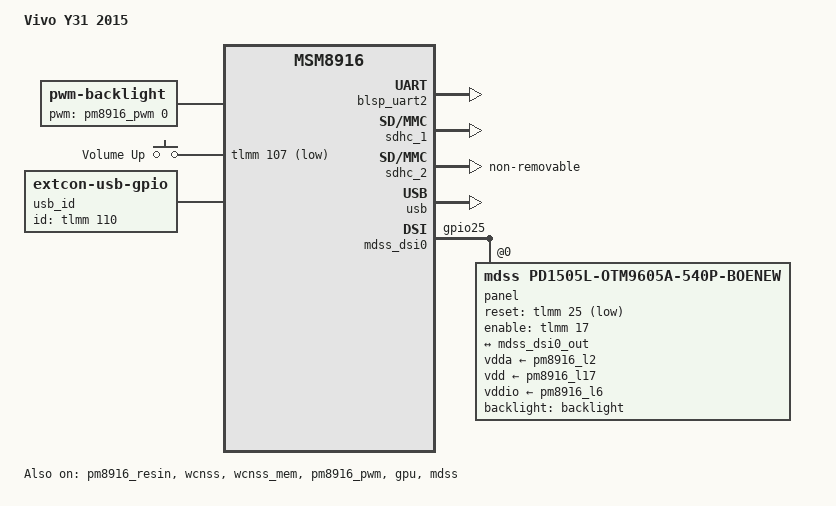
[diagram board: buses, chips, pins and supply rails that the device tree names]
// SPDX-License-Identifier: GPL-2.0-only

/dts-v1/;

#include "msm8916-pm8916.dtsi"
#include <dt-bindings/gpio/gpio.h>
#include <dt-bindings/input/input.h>
#include <dt-bindings/pwm/pwm.h>

/ {
	model = "Vivo Y31 2015";
	compatible = "vivo,pd1505", "qcom,msm8916";
	chassis-type = "handset";

	aliases {
		mmc0 = &sdhc_1;
		mmc1 = &sdhc_2;
		serial0 = &blsp_uart2;
	};

	chosen {
		stdout-path = "serial0";
	};

	backlight: backlight {
		compatible = "pwm-backlight";
		pwms = <&pm8916_pwm 0 25000>;

		brightness-levels = <0 255>;
		num-interpolated-steps = <255>;
		default-brightness-level = <255>;
	};

	gpio-keys {
		compatible = "gpio-keys";
		pinctrl-0 = <&gpio_keys_default>;
		pinctrl-names = "default";
		label = "GPIO Buttons";

		button-volume-up {
			label = "Volume Up";
			gpios = <&tlmm 107 GPIO_ACTIVE_LOW>;
			linux,code = <KEY_VOLUMEUP>;
		};
	};

	usb_id: usb-id {
		compatible = "linux,extcon-usb-gpio";
		id-gpios = <&tlmm 110 GPIO_ACTIVE_HIGH>;
		pinctrl-0 = <&usb_id_default>;
		pinctrl-names = "default";
	};

	soc@0 {
		watchdog@b017000 {
			compatible = "qcom,apss-wdt-qcs404", "qcom,kpss-wdt";
			reg = <0x0b017000 0x1000>;
			clocks = <&sleep_clk>;
		};
	};
};

&blsp_uart2 {
	status = "okay";
};

&pm8916_resin {
	linux,code = <KEY_VOLUMEDOWN>;

	status = "okay";
};

&pm8916_rpm_regulators {
	pm8916_l17: l17 {
		regulator-min-microvolt = <2850000>;
		regulator-max-microvolt = <2850000>;
	};
};

&sdhc_1 {
	status = "okay";
};

&sdhc_2 {
	non-removable;

	status = "okay";
};

&usb {
	extcon = <&usb_id>, <&usb_id>;

	status = "okay";
};

&usb_hs_phy {
	extcon = <&usb_id>;
};

&wcnss {
	status = "okay";
};

&wcnss_iris {
	compatible = "qcom,wcn3620";
};

&wcnss_mem {
	status = "okay";
};

&tlmm {
	gpio_keys_default: gpio-keys-default-state {
		pins = "gpio107";
		function = "gpio";
		drive-strength = <2>;
		bias-pull-up;
	};

	mdss_default: mdss-default-state {
		pins = "gpio25";
		function = "gpio";
		drive-strength = <8>;
		bias-disable;
	};

	mdss_sleep: mdss-sleep-state {
		pins = "gpio25";
		function = "gpio";
		drive-strength = <2>;
		bias-pull-down;
	};

	usb_id_default: usb-id-default-state {
		pins = "gpio110";
		function = "gpio";
		drive-strength = <8>;
		bias-pull-up;
	};

};

&pm8916_pwm {
	status = "okay";
};

&gpu {
	status = "okay";
};

&mdss {
	status = "okay";
};

&mdss_dsi0 {
	pinctrl-0 = <&mdss_default>;
	pinctrl-1 = <&mdss_sleep>;
	pinctrl-names = "default", "sleep";

	panel@0 {
		compatible = "mdss,pd1505l-otm9605a-540p-boenew";
		reg = <0>;

		backlight = <&backlight>;
		
		vdda-supply = <&pm8916_l2>;
		vdd-supply = <&pm8916_l17>;
		vddio-supply = <&pm8916_l6>;
		
		/* Fix 1: Map the stock hardware reset line (GPIO 25) */
    	reset-gpios = <&tlmm 25 GPIO_ACTIVE_LOW>; 

    	/* Fix 2: Map the panel power enable line (GPIO 17) */
    	enable-gpios = <&tlmm 17 GPIO_ACTIVE_HIGH>;

		port {
			panel_in: endpoint {
				remote-endpoint = <&mdss_dsi0_out>;
			};
		};
	};
};

&mdss_dsi0_out {
	data-lanes = <0 1>;
	remote-endpoint = <&panel_in>;
};

&mdss_dsi0_phy {
	qcom,dsi-phy-regulator-ldo-mode;
};
